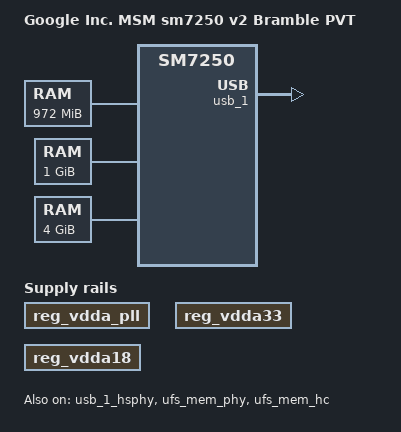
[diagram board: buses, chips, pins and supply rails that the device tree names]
// SPDX-License-Identifier: BSD-3-Clause
/*
 * Copyright (c) 2026, Yurii Bishchuk
 * Device Tree Source for Google Pixel 4a (5G) (bramble)
 */

/dts-v1/;

#include "sm7250.dtsi"

/ {
	model = "Google Inc. MSM sm7250 v2 Bramble PVT";
	compatible = "google,bramble-sm7250", "google,bramble", "qcom,sm7250";
	qcom,msm-id = <400 0x20000>, <440 0x20000>;
	qcom,board-id = <0x0a1e05 0>;

	chosen {
		#address-cells = <2>;
		#size-cells = <2>;
		ranges;

		framebuffer: framebuffer@a0000000 {
			compatible = "simple-framebuffer";
			reg = <0x0 0xa0000000 0x0 0x2300000>;
			width = <1080>;
			height = <2340>;
			stride = <4320>;
			format = "a8r8g8b8";
			status = "okay";
		};
	};

	/*
	 * Match the live Android memory map exactly.  The 0xbcc00000-0xc0000000
	 * range is not RAM, and the upper 4 GiB is a separate bank.  A single
	 * contiguous 6 GiB node makes Linux touch the hole and panic before
	 * userspace.
	 */
	memory@80000000 {
		device_type = "memory";
		reg = <0x0 0x80000000 0x0 0x3cc00000>;
	};

	memory@c0000000 {
		device_type = "memory";
		reg = <0x0 0xc0000000 0x0 0x40000000>;
	};

	memory@100000000 {
		device_type = "memory";
		reg = <0x1 0x00000000 0x1 0x00000000>;
	};

	reg_vdda_pll: regulator-vdda-pll {
		compatible = "regulator-fixed";
		regulator-name = "vdda_pll";
		regulator-always-on;
	};

	reg_vdda33: regulator-vdda33 {
		compatible = "regulator-fixed";
		regulator-name = "vdda33";
		regulator-always-on;
	};

	reg_vdda18: regulator-vdda18 {
		compatible = "regulator-fixed";
		regulator-name = "vdda18";
		regulator-always-on;
	};
};

&soc {

	qupv3_se0_2uart: serial@894000 {
		compatible = "qcom,geni-uart";
		reg = <0x0 0x00894000 0x0 0x4000>;
		interrupts = <GIC_SPI 583 IRQ_TYPE_LEVEL_HIGH>;
		status = "disabled";

		bluetooth {
			compatible = "qcom,wcn3990-bt";
			max-speed = <3200000>;
		};
	};
};

&tlmm {
	gpio-reserved-ranges = <0 4>;


};

&usb_1_hsphy {
	vdda-pll-supply = <&reg_vdda_pll>;
	vdda33-supply = <&reg_vdda33>;
	vdda18-supply = <&reg_vdda18>;
	status = "okay";
};

&usb_1_qmpphy {
	vdda-phy-supply = <&reg_vdda18>;
	vdda-pll-supply = <&reg_vdda_pll>;
	status = "disabled";
};

&usb_1 {
	status = "okay";
};

&ufs_mem_phy {
	status = "okay";
};

&ufs_mem_hc {
	status = "okay";
};
